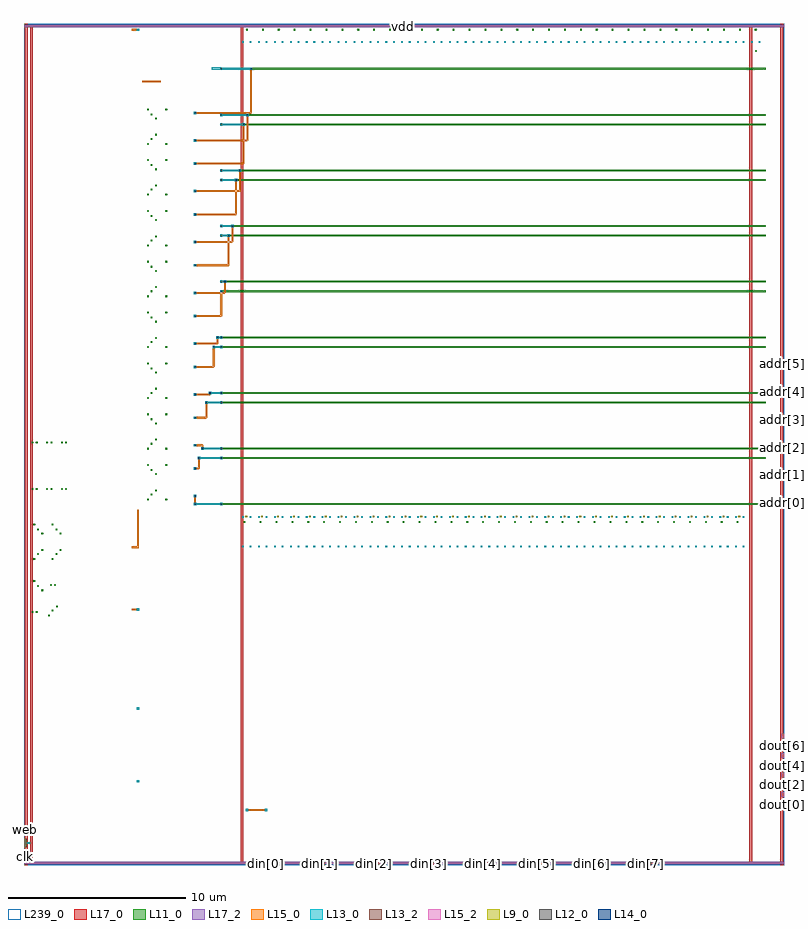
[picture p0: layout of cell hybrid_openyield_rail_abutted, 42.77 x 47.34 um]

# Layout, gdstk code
import gdstk
lib = gdstk.Library(unit=1e-6, precision=5e-10)
def R(c, l, rs):  # rectangles x0, y0, x1, y1
    for r in rs: c.add(gdstk.rectangle(r[:2], r[2:], *l))
def A(c, l, x, y, w, h, nx, ny, dx, dy):  # array of equal rectangles
    R(c, l, [(x+i*dx, y+j*dy, x+i*dx+w, y+j*dy+h) for i in range(nx) for j in range(ny)])
L9_0 = (9, 0)
L11_0 = (11, 0)
L12_0 = (12, 0)
L13_0 = (13, 0)
L13_2 = (13, 2)
L14_0 = (14, 0)
L15_0 = (15, 0)
L15_2 = (15, 2)
L17_0 = (17, 0)
L17_2 = (17, 2)
L239_0 = (239, 0)

hybrid_openyield_rail_ab = lib.new_cell('hybrid_openyield_rail_abutted')
A(hybrid_openyield_rail_ab, L9_0, 12.465, 19.575, 0.09, 0.09, 32, 1, 0.895, 0)
A(hybrid_openyield_rail_ab, L11_0, 12.3725, 19.2675, 0.09, 0.09, 32, 1, 0.895, 0)
A(hybrid_openyield_rail_ab, L11_0, 12.5, 46.97, 0.09, 0.09, 33, 1, 0.895, 0)
R(hybrid_openyield_rail_ab, L11_0, [(1.3525,14,1.4425,14.09), (0.4375,14.21,0.5275,14.3), (0.67,14.21,0.76,14.3), (1.5675,14.28,1.6575,14.37), (1.805,14.5125,1.895,14.6025), (0.9825,15.4275,1.0725,15.5175), (0.745,15.66,0.835,15.75), (1.475,15.73,1.565,15.82), (1.7075,15.73,1.7975,15.82), (0.53,15.94,0.62,16.03), (0.53,17.18,0.62,17.27), (1.5675,17.18,1.6575,17.27), (0.745,17.46,0.835,17.55), (1.7825,17.46,1.8725,17.55), (0.9825,17.6925,1.0725,17.7825), (2.02,17.6925,2.11,17.7825), (0.9825,18.6075,1.0725,18.6975), (2.02,18.6075,2.11,18.6975), (0.745,18.84,0.835,18.93), (1.7825,18.84,1.8725,18.93), (0.53,19.12,0.62,19.21), (1.5675,19.12,1.6575,19.21), (11.0325,20.2475,11.1675,20.3825), (11.1,20.27,41.74,20.36), (6.925,20.53,7.015,20.62), (7.9625,20.53,8.0525,20.62), (9.5625,20.7025,9.6975,20.8375), (9.585,20.725,9.675,20.815), (7.14,20.81,7.23,20.9), (7.3775,21.0425,7.4675,21.1325), (0.4375,21.1225,0.5275,21.2125), (0.67,21.1225,0.76,21.2125), (1.26,21.1225,1.35,21.2125), (1.4925,21.1225,1.5825,21.2125), (2.0825,21.1225,2.1725,21.2125), (2.315,21.1225,2.405,21.2125), (7.3775,21.9575,7.4675,22.0475), (7.14,22.19,7.23,22.28), (9.5625,22.2525,9.6975,22.3875), (9.585,22.275,9.675,22.365), (6.925,22.47,7.015,22.56), (7.9625,22.47,8.0525,22.56), (11.0325,22.8425,11.1675,22.9775), (11.1,22.865,41.74,22.955), (11.0325,23.3775,11.1675,23.5125), (6.925,23.39,7.015,23.48), (7.9625,23.39,8.0525,23.48), (11.1,23.4,41.74,23.49), (9.5625,23.5625,9.6975,23.6975), (9.585,23.585,9.675,23.675), (7.14,23.67,7.23,23.76), (0.4375,23.7475,0.5275,23.8375), (0.67,23.7475,0.76,23.8375), (1.26,23.7475,1.35,23.8375), (1.4925,23.7475,1.5825,23.8375), (2.0825,23.7475,2.1725,23.8375), (2.315,23.7475,2.405,23.8375), (7.3775,23.9025,7.4675,23.9925), (7.3775,24.8175,7.4675,24.9075), (7.14,25.05,7.23,25.14), (9.5625,25.1125,9.6975,25.2475), (9.585,25.135,9.675,25.225), (6.925,25.33,7.015,25.42), (7.9625,25.33,8.0525,25.42), (11.0325,25.9725,11.1675,26.1075), (11.1,25.995,41.74,26.085), (6.925,26.25,7.015,26.34), (7.9625,26.25,8.0525,26.34), (9.5625,26.4225,9.6975,26.5575), (9.585,26.445,9.675,26.535), (11.0325,26.5075,11.1675,26.6425), (7.14,26.53,7.23,26.62), (11.1,26.53,41.74,26.62), (7.3775,26.7625,7.4675,26.8525), (7.3775,27.6775,7.4675,27.7675), (7.14,27.91,7.23,28), (9.5625,27.9725,9.6975,28.1075), (9.585,27.995,9.675,28.085), (6.925,28.19,7.015,28.28), (7.9625,28.19,8.0525,28.28), (11.0325,29.1025,11.1675,29.2375), (6.925,29.11,7.015,29.2), (7.9625,29.11,8.0525,29.2), (11.1,29.125,41.74,29.215), (9.5625,29.2825,9.6975,29.4175), (9.585,29.305,9.675,29.395), (7.14,29.39,7.23,29.48), (7.3775,29.6225,7.4675,29.7125), (11.0325,29.6375,11.1675,29.7725), (11.1,29.66,41.74,29.75), (7.3775,30.5375,7.4675,30.6275), (7.14,30.77,7.23,30.86), (9.5625,30.8325,9.6975,30.9675), (9.585,30.855,9.675,30.945), (6.925,31.05,7.015,31.14), (7.9625,31.05,8.0525,31.14), (6.925,31.97,7.015,32.06), (7.9625,31.97,8.0525,32.06), (9.5625,32.1425,9.6975,32.2775), (9.585,32.165,9.675,32.255), (11.0325,32.2325,11.1675,32.3675), (7.14,32.25,7.23,32.34), (11.1,32.255,41.74,32.345), (7.3775,32.4825,7.4675,32.5725), (11.0325,32.7675,11.1675,32.9025), (11.1,32.79,41.74,32.88), (7.3775,33.3975,7.4675,33.4875), (7.14,33.63,7.23,33.72), (9.5625,33.6925,9.6975,33.8275), (9.585,33.715,9.675,33.805), (6.925,33.91,7.015,34), (7.9625,33.91,8.0525,34), (6.925,34.83,7.015,34.92), (7.9625,34.83,8.0525,34.92), (9.5625,35.0025,9.6975,35.1375), (9.585,35.025,9.675,35.115), (7.14,35.11,7.23,35.2), (7.3775,35.3425,7.4675,35.4325), (11.0325,35.3625,11.1675,35.4975), (11.1,35.385,41.74,35.475), (11.0325,35.8975,11.1675,36.0325), (11.1,35.92,41.74,36.01), (7.3775,36.2575,7.4675,36.3475), (7.14,36.49,7.23,36.58), (9.5625,36.5525,9.6975,36.6875), (9.585,36.575,9.675,36.665), (6.925,36.77,7.015,36.86), (7.9625,36.77,8.0525,36.86), (6.925,37.69,7.015,37.78), (7.9625,37.69,8.0525,37.78), (9.5625,37.8625,9.6975,37.9975), (9.585,37.885,9.675,37.975), (7.14,37.97,7.23,38.06), (7.3775,38.2025,7.4675,38.2925), (11.0325,38.4925,11.1675,38.6275), (11.1,38.515,41.74,38.605), (11.0325,39.0275,11.1675,39.1625), (11.1,39.05,41.74,39.14), (7.3775,39.1175,7.4675,39.2075), (7.14,39.35,7.23,39.44), (9.5625,39.4125,9.6975,39.5475), (9.585,39.435,9.675,39.525), (6.925,39.63,7.015,39.72), (7.9625,39.63,8.0525,39.72), (6.925,40.55,7.015,40.64), (7.9625,40.55,8.0525,40.64), (9.5625,40.7225,9.6975,40.8575), (9.585,40.745,9.675,40.835), (7.14,40.83,7.23,40.92), (7.3775,41.0625,7.4675,41.1525), (11.0325,41.6225,11.1675,41.7575), (11.1,41.645,41.74,41.735), (7.3775,41.9775,7.4675,42.0675), (11.0325,42.1575,11.1675,42.2925), (11.1,42.18,41.74,42.27), (7.14,42.21,7.23,42.3), (9.5625,42.2725,9.6975,42.4075), (9.585,42.295,9.675,42.385), (6.925,42.49,7.015,42.58), (7.9625,42.49,8.0525,42.58), (11.0325,44.7525,11.1675,44.8875), (11.1,44.775,41.74,44.865), (41.16,45.7725,41.25,45.8625)])
R(hybrid_openyield_rail_ab, L12_0, [(11.0675,20.2825,11.1325,20.3475), (9.5975,20.7375,9.6625,20.8025), (9.5975,22.2875,9.6625,22.3525), (11.0675,22.8775,11.1325,22.9425), (11.0675,23.4125,11.1325,23.4775), (9.5975,23.5975,9.6625,23.6625), (9.5975,25.1475,9.6625,25.2125), (11.0675,26.0075,11.1325,26.0725), (9.5975,26.4575,9.6625,26.5225), (11.0675,26.5425,11.1325,26.6075), (9.5975,28.0075,9.6625,28.0725), (11.0675,29.1375,11.1325,29.2025), (9.5975,29.3175,9.6625,29.3825), (11.0675,29.6725,11.1325,29.7375), (9.5975,30.8675,9.6625,30.9325), (9.5975,32.1775,9.6625,32.2425), (11.0675,32.2675,11.1325,32.3325), (11.0675,32.8025,11.1325,32.8675), (9.5975,33.7275,9.6625,33.7925), (9.5975,35.0375,9.6625,35.1025), (11.0675,35.3975,11.1325,35.4625), (11.0675,35.9325,11.1325,35.9975), (9.5975,36.5875,9.6625,36.6525), (9.5975,37.8975,9.6625,37.9625), (11.0675,38.5275,11.1325,38.5925), (11.0675,39.0625,11.1325,39.1275), (9.5975,39.4475,9.6625,39.5125), (9.5975,40.7575,9.6625,40.8225), (11.0675,41.6575,11.1325,41.7225), (11.0675,42.1925,11.1325,42.2575), (9.5975,42.3075,9.6625,42.3725), (11.0675,44.7875,11.1325,44.8525)])
A(hybrid_openyield_rail_ab, L13_0, 13.37, 0, 0.5, 0.16, 8, 1, 3.06, 0)
A(hybrid_openyield_rail_ab, L13_0, 0, 0.2425, 0.16, 0.5, 1, 3, 0, 0.75)
A(hybrid_openyield_rail_ab, L13_0, 0.16, 0.4575, 0.1825, 0.07, 1, 3, 0, 0.75)
R(hybrid_openyield_rail_ab, L13_0, [(12.475,3.04,12.61,3.175), (13.5525,3.04,13.6875,3.175), (6.345,4.6525,6.48,4.7875), (6.345,8.7575,6.48,8.8925), (6.345,14.325,6.48,14.46), (12.2875,17.8975,12.3775,17.9875), (12.7125,17.8975,12.8025,17.9875), (13.1825,17.8975,13.2725,17.9875), (13.6075,17.8975,13.6975,17.9875), (14.0775,17.8975,14.1675,17.9875), (14.5025,17.8975,14.5925,17.9875), (14.9725,17.8975,15.0625,17.9875), (15.3975,17.8975,15.4875,17.9875), (15.8675,17.8975,15.9575,17.9875), (16.2925,17.8975,16.3825,17.9875), (16.7625,17.8975,16.8525,17.9875), (17.1875,17.8975,17.2775,17.9875), (17.6575,17.8975,17.7475,17.9875), (18.0825,17.8975,18.1725,17.9875), (18.5525,17.8975,18.6425,17.9875), (18.9775,17.8975,19.0675,17.9875), (19.4475,17.8975,19.5375,17.9875), (19.8725,17.8975,19.9625,17.9875), (20.3425,17.8975,20.4325,17.9875), (20.7675,17.8975,20.8575,17.9875), (21.2375,17.8975,21.3275,17.9875), (21.6625,17.8975,21.7525,17.9875), (22.1325,17.8975,22.2225,17.9875), (22.5575,17.8975,22.6475,17.9875), (23.0275,17.8975,23.1175,17.9875), (23.4525,17.8975,23.5425,17.9875), (23.9225,17.8975,24.0125,17.9875), (24.3475,17.8975,24.4375,17.9875), (24.8175,17.8975,24.9075,17.9875), (25.2425,17.8975,25.3325,17.9875), (25.7125,17.8975,25.8025,17.9875), (26.1375,17.8975,26.2275,17.9875), (26.6075,17.8975,26.6975,17.9875), (27.0325,17.8975,27.1225,17.9875), (27.5025,17.8975,27.5925,17.9875), (27.9275,17.8975,28.0175,17.9875), (28.3975,17.8975,28.4875,17.9875), (28.8225,17.8975,28.9125,17.9875), (29.2925,17.8975,29.3825,17.9875), (29.7175,17.8975,29.8075,17.9875), (30.1875,17.8975,30.2775,17.9875), (30.6125,17.8975,30.7025,17.9875), (31.0825,17.8975,31.1725,17.9875), (31.5075,17.8975,31.5975,17.9875), (31.9775,17.8975,32.0675,17.9875), (32.4025,17.8975,32.4925,17.9875), (32.8725,17.8975,32.9625,17.9875), (33.2975,17.8975,33.3875,17.9875), (33.7675,17.8975,33.8575,17.9875), (34.1925,17.8975,34.2825,17.9875), (34.6625,17.8975,34.7525,17.9875), (35.0875,17.8975,35.1775,17.9875), (35.5575,17.8975,35.6475,17.9875), (35.9825,17.8975,36.0725,17.9875), (36.4525,17.8975,36.5425,17.9875), (36.8775,17.8975,36.9675,17.9875), (37.3475,17.8975,37.4375,17.9875), (37.7725,17.8975,37.8625,17.9875), (38.2425,17.8975,38.3325,17.9875), (38.6675,17.8975,38.7575,17.9875), (39.1375,17.8975,39.2275,17.9875), (39.5625,17.8975,39.6525,17.9875), (40.0325,17.8975,40.1225,17.9875), (40.4575,17.8975,40.5475,17.9875), (12.2875,19.5575,12.3775,19.6475), (12.7125,19.5575,12.8025,19.6475), (13.1825,19.5575,13.2725,19.6475), (13.6075,19.5575,13.6975,19.6475), (14.0775,19.5575,14.1675,19.6475), (14.5025,19.5575,14.5925,19.6475), (14.9725,19.5575,15.0625,19.6475), (15.3975,19.5575,15.4875,19.6475), (15.8675,19.5575,15.9575,19.6475), (16.2925,19.5575,16.3825,19.6475), (16.7625,19.5575,16.8525,19.6475), (17.1875,19.5575,17.2775,19.6475), (17.6575,19.5575,17.7475,19.6475), (18.0825,19.5575,18.1725,19.6475), (18.5525,19.5575,18.6425,19.6475), (18.9775,19.5575,19.0675,19.6475), (19.4475,19.5575,19.5375,19.6475), (19.8725,19.5575,19.9625,19.6475), (20.3425,19.5575,20.4325,19.6475), (20.7675,19.5575,20.8575,19.6475), (21.2375,19.5575,21.3275,19.6475), (21.6625,19.5575,21.7525,19.6475), (22.1325,19.5575,22.2225,19.6475), (22.5575,19.5575,22.6475,19.6475), (23.0275,19.5575,23.1175,19.6475), (23.4525,19.5575,23.5425,19.6475), (23.9225,19.5575,24.0125,19.6475), (24.3475,19.5575,24.4375,19.6475), (24.8175,19.5575,24.9075,19.6475), (25.2425,19.5575,25.3325,19.6475), (25.7125,19.5575,25.8025,19.6475), (26.1375,19.5575,26.2275,19.6475), (26.6075,19.5575,26.6975,19.6475), (27.0325,19.5575,27.1225,19.6475), (27.5025,19.5575,27.5925,19.6475), (27.9275,19.5575,28.0175,19.6475), (28.3975,19.5575,28.4875,19.6475), (28.8225,19.5575,28.9125,19.6475), (29.2925,19.5575,29.3825,19.6475), (29.7175,19.5575,29.8075,19.6475), (30.1875,19.5575,30.2775,19.6475), (30.6125,19.5575,30.7025,19.6475), (31.0825,19.5575,31.1725,19.6475), (31.5075,19.5575,31.5975,19.6475), (31.9775,19.5575,32.0675,19.6475), (32.4025,19.5575,32.4925,19.6475), (32.8725,19.5575,32.9625,19.6475), (33.2975,19.5575,33.3875,19.6475), (33.7675,19.5575,33.8575,19.6475), (34.1925,19.5575,34.2825,19.6475), (34.6625,19.5575,34.7525,19.6475), (35.0875,19.5575,35.1775,19.6475), (35.5575,19.5575,35.6475,19.6475), (35.9825,19.5575,36.0725,19.6475), (36.4525,19.5575,36.5425,19.6475), (36.8775,19.5575,36.9675,19.6475), (37.3475,19.5575,37.4375,19.6475), (37.7725,19.5575,37.8625,19.6475), (38.2425,19.5575,38.3325,19.6475), (38.6675,19.5575,38.7575,19.6475), (39.1375,19.5575,39.2275,19.6475), (39.5625,19.5575,39.6525,19.6475), (40.0325,19.5575,40.1225,19.6475), (40.4575,19.5575,40.5475,19.6475), (9.5625,20.2475,9.6975,20.3825), (11.0325,20.2475,11.1675,20.3825), (9.63,20.27,11.1,20.36), (9.5625,20.7025,9.6975,20.8375), (9.5625,22.2525,9.6975,22.3875), (9.7725,22.8425,9.9075,22.9775), (11.0325,22.8425,11.1675,22.9775), (9.84,22.865,11.1,22.955), (9.9825,23.3775,10.1175,23.5125), (11.0325,23.3775,11.1675,23.5125), (10.05,23.4,11.1,23.49), (9.5625,23.5625,9.6975,23.6975), (9.5625,25.1125,9.6975,25.2475), (10.1925,25.9725,10.3275,26.1075), (11.0325,25.9725,11.1675,26.1075), (10.26,25.995,11.1,26.085), (9.5625,26.4225,9.6975,26.5575), (10.4025,26.5075,10.5375,26.6425), (11.0325,26.5075,11.1675,26.6425), (10.47,26.53,11.1,26.62), (9.5625,27.9725,9.6975,28.1075), (10.6125,29.1025,10.7475,29.2375), (11.0325,29.1025,11.1675,29.2375), (10.68,29.125,11.1,29.215), (9.5625,29.2825,9.6975,29.4175), (10.8225,29.6375,10.9575,29.7725), (11.0325,29.6375,11.1675,29.7725), (10.89,29.66,11.1,29.75), (9.5625,30.8325,9.6975,30.9675), (9.5625,32.1425,9.6975,32.2775), (11.0325,32.2325,11.1675,32.3675), (11.0325,32.7675,11.1675,32.9025), (11.2425,32.7675,11.3775,32.9025), (11.1,32.79,11.31,32.88), (9.5625,33.6925,9.6975,33.8275), (9.5625,35.0025,9.6975,35.1375), (11.0325,35.3625,11.1675,35.4975), (11.4525,35.3625,11.5875,35.4975), (11.1,35.385,11.52,35.475), (11.0325,35.8975,11.1675,36.0325), (11.6625,35.8975,11.7975,36.0325), (11.1,35.92,11.73,36.01), (9.5625,36.5525,9.6975,36.6875), (9.5625,37.8625,9.6975,37.9975), (11.0325,38.4925,11.1675,38.6275), (11.8725,38.4925,12.0075,38.6275), (11.1,38.515,11.94,38.605), (11.0325,39.0275,11.1675,39.1625), (12.0825,39.0275,12.2175,39.1625), (11.1,39.05,12.15,39.14), (9.5625,39.4125,9.6975,39.5475), (9.5625,40.7225,9.6975,40.8575), (11.0325,41.6225,11.1675,41.7575), (12.2925,41.6225,12.4275,41.7575), (11.1,41.645,12.36,41.735), (11.0325,42.1575,11.1675,42.2925), (12.5025,42.1575,12.6375,42.2925), (11.1,42.18,12.57,42.27), (9.5625,42.2725,9.6975,42.4075), (10.56,44.75,11.1,44.89), (11.0325,44.7525,11.1675,44.8875), (12.7125,44.7525,12.8475,44.8875), (11.1,44.775,12.78,44.865), (12.2875,46.2875,12.3775,46.3775), (12.7125,46.2875,12.8025,46.3775), (13.1825,46.2875,13.2725,46.3775), (13.6075,46.2875,13.6975,46.3775), (14.0775,46.2875,14.1675,46.3775), (14.5025,46.2875,14.5925,46.3775), (14.9725,46.2875,15.0625,46.3775), (15.3975,46.2875,15.4875,46.3775), (15.8675,46.2875,15.9575,46.3775), (16.2925,46.2875,16.3825,46.3775), (16.7625,46.2875,16.8525,46.3775), (17.1875,46.2875,17.2775,46.3775), (17.6575,46.2875,17.7475,46.3775), (18.0825,46.2875,18.1725,46.3775), (18.5525,46.2875,18.6425,46.3775), (18.9775,46.2875,19.0675,46.3775), (19.4475,46.2875,19.5375,46.3775), (19.8725,46.2875,19.9625,46.3775), (20.3425,46.2875,20.4325,46.3775), (20.7675,46.2875,20.8575,46.3775), (21.2375,46.2875,21.3275,46.3775), (21.6625,46.2875,21.7525,46.3775), (22.1325,46.2875,22.2225,46.3775), (22.5575,46.2875,22.6475,46.3775), (23.0275,46.2875,23.1175,46.3775), (23.4525,46.2875,23.5425,46.3775), (23.9225,46.2875,24.0125,46.3775), (24.3475,46.2875,24.4375,46.3775), (24.8175,46.2875,24.9075,46.3775), (25.2425,46.2875,25.3325,46.3775), (25.7125,46.2875,25.8025,46.3775), (26.1375,46.2875,26.2275,46.3775), (26.6075,46.2875,26.6975,46.3775), (27.0325,46.2875,27.1225,46.3775), (27.5025,46.2875,27.5925,46.3775), (27.9275,46.2875,28.0175,46.3775), (28.3975,46.2875,28.4875,46.3775), (28.8225,46.2875,28.9125,46.3775), (29.2925,46.2875,29.3825,46.3775), (29.7175,46.2875,29.8075,46.3775), (30.1875,46.2875,30.2775,46.3775), (30.6125,46.2875,30.7025,46.3775), (31.0825,46.2875,31.1725,46.3775), (31.5075,46.2875,31.5975,46.3775), (31.9775,46.2875,32.0675,46.3775), (32.4025,46.2875,32.4925,46.3775), (32.8725,46.2875,32.9625,46.3775), (33.2975,46.2875,33.3875,46.3775), (33.7675,46.2875,33.8575,46.3775), (34.1925,46.2875,34.2825,46.3775), (34.6625,46.2875,34.7525,46.3775), (35.0875,46.2875,35.1775,46.3775), (35.5575,46.2875,35.6475,46.3775), (35.9825,46.2875,36.0725,46.3775), (36.4525,46.2875,36.5425,46.3775), (36.8775,46.2875,36.9675,46.3775), (37.3475,46.2875,37.4375,46.3775), (37.7725,46.2875,37.8625,46.3775), (38.2425,46.2875,38.3325,46.3775), (38.6675,46.2875,38.7575,46.3775), (39.1375,46.2875,39.2275,46.3775), (39.5625,46.2875,39.6525,46.3775), (40.0325,46.2875,40.1225,46.3775), (40.4575,46.2875,40.5475,46.3775), (40.9275,46.2875,41.0175,46.3775), (41.3525,46.2875,41.4425,46.3775), (6.345,46.9475,6.48,47.0825)])
A(hybrid_openyield_rail_ab, L13_2, 13.37, 0, 0.5, 0.16, 8, 1, 3.06, 0)
A(hybrid_openyield_rail_ab, L13_2, 0, 0.2425, 0.16, 0.5, 1, 3, 0, 0.75)
R(hybrid_openyield_rail_ab, L14_0, [(9.5975,20.2825,9.6625,20.3475), (9.5975,20.7375,9.6625,20.8025), (9.5975,22.2875,9.6625,22.3525), (9.8075,22.8775,9.8725,22.9425), (10.0175,23.4125,10.0825,23.4775), (9.5975,23.5975,9.6625,23.6625), (9.5975,25.1475,9.6625,25.2125), (10.2275,26.0075,10.2925,26.0725), (9.5975,26.4575,9.6625,26.5225), (10.4375,26.5425,10.5025,26.6075), (9.5975,28.0075,9.6625,28.0725), (10.6475,29.1375,10.7125,29.2025), (9.5975,29.3175,9.6625,29.3825), (10.8575,29.6725,10.9225,29.7375), (9.5975,30.8675,9.6625,30.9325), (9.5975,32.1775,9.6625,32.2425), (11.0675,32.2675,11.1325,32.3325), (11.2775,32.8025,11.3425,32.8675), (9.5975,33.7275,9.6625,33.7925), (9.5975,35.0375,9.6625,35.1025), (11.4875,35.3975,11.5525,35.4625), (11.6975,35.9325,11.7625,35.9975), (9.5975,36.5875,9.6625,36.6525), (9.5975,37.8975,9.6625,37.9625), (11.9075,38.5275,11.9725,38.5925), (12.1175,39.0625,12.1825,39.1275), (9.5975,39.4475,9.6625,39.5125), (9.5975,40.7575,9.6625,40.8225), (12.3275,41.6575,12.3925,41.7225), (12.5375,42.1925,12.6025,42.2575), (9.5975,42.3075,9.6625,42.3725), (12.7475,44.7875,12.8125,44.8525)])
A(hybrid_openyield_rail_ab, L15_0, 42.6125, 3.2875, 0.16, 0.25, 1, 8, 0, 0.55)
A(hybrid_openyield_rail_ab, L15_0, 42.6125, 20.1475, 0.16, 0.5, 1, 6, 0, 1.565)
R(hybrid_openyield_rail_ab, L15_0, [(12.475,3.04,12.61,3.175), (13.5525,3.04,13.6875,3.175), (12.5425,3.0625,13.62,3.1525), (6.345,4.6525,6.48,4.7875), (6.345,8.7575,6.48,8.8925), (6.345,14.325,6.48,14.46), (6.0625,14.3475,6.4125,14.4375), (6.0625,17.845,6.4575,17.935), (6.3675,17.845,6.4575,19.9925), (9.5625,20.2475,9.6975,20.3825), (9.585,20.315,9.675,20.77), (9.5625,20.7025,9.6975,20.8375), (9.5625,22.2525,9.6975,22.3875), (9.63,22.275,9.84,22.365), (9.795,22.32,9.885,22.91), (9.7725,22.8425,9.9075,22.9775), (9.9825,23.3775,10.1175,23.5125), (10.005,23.445,10.095,23.63), (9.5625,23.5625,9.6975,23.6975), (9.63,23.585,10.05,23.675), (9.5625,25.1125,9.6975,25.2475), (9.63,25.135,10.26,25.225), (10.215,25.18,10.305,26.04), (10.1925,25.9725,10.3275,26.1075), (9.5625,26.4225,9.6975,26.5575), (9.63,26.445,10.47,26.535), (10.425,26.4875,10.515,26.5775), (10.4025,26.5075,10.5375,26.6425), (9.5625,27.9725,9.6975,28.1075), (9.63,27.995,10.68,28.085), (10.635,28.04,10.725,29.17), (10.6125,29.1025,10.7475,29.2375), (9.5625,29.2825,9.6975,29.4175), (9.63,29.305,10.89,29.395), (10.845,29.35,10.935,29.705), (10.8225,29.6375,10.9575,29.7725), (9.5625,30.8325,9.6975,30.9675), (9.63,30.855,11.1,30.945), (11.055,30.9,11.145,32.3), (9.5625,32.1425,9.6975,32.2775), (9.63,32.165,11.31,32.255), (11.265,32.21,11.355,32.835), (11.0325,32.2325,11.1675,32.3675), (11.2425,32.7675,11.3775,32.9025), (9.5625,33.6925,9.6975,33.8275), (9.63,33.715,11.52,33.805), (11.475,33.76,11.565,35.43), (9.5625,35.0025,9.6975,35.1375), (9.63,35.025,11.73,35.115), (11.685,35.07,11.775,35.965), (11.4525,35.3625,11.5875,35.4975), (11.6625,35.8975,11.7975,36.0325), (9.5625,36.5525,9.6975,36.6875), (9.63,36.575,11.94,36.665), (11.895,36.62,11.985,38.56), (9.5625,37.8625,9.6975,37.9975), (9.63,37.885,12.15,37.975), (12.105,37.93,12.195,39.095), (11.8725,38.4925,12.0075,38.6275), (12.0825,39.0275,12.2175,39.1625), (9.5625,39.4125,9.6975,39.5475), (9.63,39.435,12.36,39.525), (12.315,39.48,12.405,41.69), (9.5625,40.7225,9.6975,40.8575), (9.63,40.745,12.57,40.835), (12.525,40.79,12.615,42.225), (12.2925,41.6225,12.4275,41.7575), (12.5025,42.1575,12.6375,42.2925), (9.5625,42.2725,9.6975,42.4075), (9.63,42.295,12.78,42.385), (12.735,42.34,12.825,44.82), (6.6575,44.055,7.695,44.145), (12.7125,44.7525,12.8475,44.8875), (6.345,46.9475,6.48,47.0825), (6.0625,46.97,6.4125,47.06)])
A(hybrid_openyield_rail_ab, L15_2, 42.6125, 3.2875, 0.16, 0.25, 1, 8, 0, 0.55)
A(hybrid_openyield_rail_ab, L15_2, 42.6125, 20.1475, 0.16, 0.5, 1, 6, 0, 1.565)
R(hybrid_openyield_rail_ab, L17_0, [(0.05,0,0.2,47.345), (42.5725,0,42.7225,47.345), (0,0.05,42.7725,0.2), (0.3425,0.2,0.5025,47.145), (12.19,0.2,12.35,47.145), (40.83,0.2,40.99,47.145), (0,47.145,42.7725,47.295)])
R(hybrid_openyield_rail_ab, L17_2, [(0,0.05,42.7725,0.2), (0,47.145,42.7725,47.295)])
R(hybrid_openyield_rail_ab, L239_0, [(0,0,42.7725,47.345)])
hybrid_openyield_rail_ab.add(gdstk.Label('clk', (0.08,0.4925), layer=13, texttype=1))
hybrid_openyield_rail_ab.add(gdstk.Label('csb', (0.08,1.2425), layer=13, texttype=1))
hybrid_openyield_rail_ab.add(gdstk.Label('web', (0.08,1.9925), layer=13, texttype=1))
hybrid_openyield_rail_ab.add(gdstk.Label('addr[0]', (42.6925,20.3975), layer=15, texttype=1))
hybrid_openyield_rail_ab.add(gdstk.Label('addr[1]', (42.6925,21.9625), layer=15, texttype=1))
hybrid_openyield_rail_ab.add(gdstk.Label('addr[2]', (42.6925,23.5275), layer=15, texttype=1))
hybrid_openyield_rail_ab.add(gdstk.Label('addr[3]', (42.6925,25.0925), layer=15, texttype=1))
hybrid_openyield_rail_ab.add(gdstk.Label('addr[4]', (42.6925,26.6575), layer=15, texttype=1))
hybrid_openyield_rail_ab.add(gdstk.Label('addr[5]', (42.6925,28.2225), layer=15, texttype=1))
hybrid_openyield_rail_ab.add(gdstk.Label('din[0]', (13.62,0.08), layer=13, texttype=1))
hybrid_openyield_rail_ab.add(gdstk.Label('dout[0]', (42.6925,3.4125), layer=15, texttype=1))
hybrid_openyield_rail_ab.add(gdstk.Label('din[1]', (16.68,0.08), layer=13, texttype=1))
hybrid_openyield_rail_ab.add(gdstk.Label('dout[1]', (42.6925,3.9625), layer=15, texttype=1))
hybrid_openyield_rail_ab.add(gdstk.Label('din[2]', (19.74,0.08), layer=13, texttype=1))
hybrid_openyield_rail_ab.add(gdstk.Label('dout[2]', (42.6925,4.5125), layer=15, texttype=1))
hybrid_openyield_rail_ab.add(gdstk.Label('din[3]', (22.8,0.08), layer=13, texttype=1))
hybrid_openyield_rail_ab.add(gdstk.Label('dout[3]', (42.6925,5.0625), layer=15, texttype=1))
hybrid_openyield_rail_ab.add(gdstk.Label('din[4]', (25.86,0.08), layer=13, texttype=1))
hybrid_openyield_rail_ab.add(gdstk.Label('dout[4]', (42.6925,5.6125), layer=15, texttype=1))
hybrid_openyield_rail_ab.add(gdstk.Label('din[5]', (28.92,0.08), layer=13, texttype=1))
hybrid_openyield_rail_ab.add(gdstk.Label('dout[5]', (42.6925,6.1625), layer=15, texttype=1))
hybrid_openyield_rail_ab.add(gdstk.Label('din[6]', (31.98,0.08), layer=13, texttype=1))
hybrid_openyield_rail_ab.add(gdstk.Label('dout[6]', (42.6925,6.7125), layer=15, texttype=1))
hybrid_openyield_rail_ab.add(gdstk.Label('din[7]', (35.04,0.08), layer=13, texttype=1))
hybrid_openyield_rail_ab.add(gdstk.Label('dout[7]', (42.6925,7.2625), layer=15, texttype=1))
hybrid_openyield_rail_ab.add(gdstk.Label('vdd', (21.385,47.22), layer=17, texttype=1))
hybrid_openyield_rail_ab.add(gdstk.Label('gnd', (21.385,0.125), layer=17, texttype=1))

lib.write_gds('hybrid_openyield_rail_abutted.gds')
